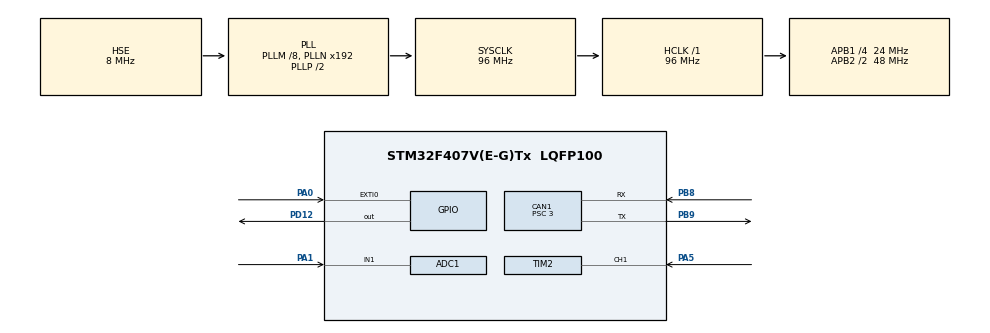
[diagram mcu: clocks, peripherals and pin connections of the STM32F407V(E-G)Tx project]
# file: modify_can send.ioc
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ADC1.Channel-7\#ChannelRegularConversion=ADC_CHANNEL_1
ADC1.NbrOfConversionFlag=1
ADC1.Rank-7\#ChannelRegularConversion=1
ADC1.SamplingTime-7\#ChannelRegularConversion=ADC_SAMPLETIME_3CYCLES
ADC1.master=1
CAN1.BS1=CAN_BS1_13TQ
CAN1.BS2=CAN_BS2_2TQ
CAN1.CalculateBaudRate=500000
CAN1.CalculateTimeBit=2000
CAN1.CalculateTimeQuantum=125.0
CAN1.Prescaler=3
FREERTOS.Mutexes01=rpmMutex,Dynamic,NULL,Available
FREERTOS.Tasks01=DefaultTask,-3,128,StartTask,Default,NULL,Dynamic,NULL,NULL;adcTask,1,256,StartADCTask,Default,NULL,Dynamic,NULL,NULL;canTask,0,256,StartCANTask,Default,NULL,Dynamic,NULL,NULL;Engine_RPM_S,2,256,StartEngineTask,Default,NULL,Dynamic,NULL,NULL
FREERTOS.configTOTAL_HEAP_SIZE=32768
FREERTOS.configUSE_COUNTING_SEMAPHORES=1
FREERTOS.configUSE_RECURSIVE_MUTEXES=1
FREERTOS.configUSE_TIMERS=1
Mcu.Family=STM32F4
Mcu.Name=STM32F407V(E-G)Tx
Mcu.Package=LQFP100
NVIC.CAN1_RX0_IRQn=true\:5\:0\:true\:false\:true\:true\:true\:true\:true
NVIC.CAN1_TX_IRQn=true\:5\:0\:true\:false\:true\:true\:true\:true\:true
NVIC.EXTI0_IRQn=true\:5\:0\:false\:false\:true\:true\:true\:true\:true
NVIC.PriorityGroup=NVIC_PRIORITYGROUP_4
NVIC.TIM2_IRQn=true\:5\:0\:false\:false\:true\:true\:true\:true\:true
PA0-WKUP.Signal=GPXTI0
PA1.Signal=ADCx_IN1
PA5.GPIO_Speed=GPIO_SPEED_FREQ_VERY_HIGH
PA5.Signal=S_TIM2_CH1_ETR
PB8.Mode=CAN_Activate
PB8.Signal=CAN1_RX
PB9.Mode=CAN_Activate
PB9.Signal=CAN1_TX
PD12.Signal=GPIO_Output
PH0-OSC_IN.Mode=HSE-External-Oscillator
PH0-OSC_IN.Signal=RCC_OSC_IN
PH1-OSC_OUT.Mode=HSE-External-Oscillator
PH1-OSC_OUT.Signal=RCC_OSC_OUT
ProjectManager.HeapSize=0x200
ProjectManager.StackSize=0x400
ProjectManager.TargetToolchain=STM32CubeIDE
RCC.48MHZClocksFreq_Value=48000000
RCC.AHBFreq_Value=96000000
RCC.APB1CLKDivider=RCC_HCLK_DIV4
RCC.APB1Freq_Value=24000000
RCC.APB1TimFreq_Value=48000000
RCC.APB2CLKDivider=RCC_HCLK_DIV2
RCC.APB2Freq_Value=48000000
RCC.APB2TimFreq_Value=96000000
RCC.CortexFreq_Value=96000000
RCC.HCLKFreq_Value=96000000
RCC.HSE_VALUE=8000000
RCC.HSI_VALUE=16000000
RCC.LSE_VALUE=32768
RCC.PLLM=8
RCC.PLLSourceVirtual=RCC_PLLSOURCE_HSE
RCC.SYSCLKFreq_VALUE=96000000
RCC.SYSCLKSource=RCC_SYSCLKSOURCE_PLLCLK
RCC.VCOOutputFreq_Value=192000000
SH.ADCx_IN1.0=ADC1_IN1,IN1
SH.S_TIM2_CH1_ETR.0=TIM2_CH1,Input_Capture1_from_TI1
TIM2.Channel-Input_Capture1_from_TI1=TIM_CHANNEL_1
TIM2.Period=999
TIM2.Prescaler=47
TIM2.TIM_MasterOutputTrigger=TIM_TRGO_ENABLE
VP_FREERTOS_VS_CMSIS_V1.Mode=CMSIS_V1
board=custom

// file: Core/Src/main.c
/* USER CODE BEGIN Header */
/**
  ******************************************************************************
  * @file           : main.c
  * @brief          : Main program body
  ******************************************************************************
  * @attention
  *
  * Copyright (c) 2025 STMicroelectronics.
  * All rights reserved.
  *
  * This software is licensed under terms that can be found in the LICENSE file
  * in the root directory of this software component.
  * If no LICENSE file comes with this software, it is provided AS-IS.
  *
  ******************************************************************************
  */
/* USER CODE END Header */
#include "main.h"
#include "cmsis_os.h"

/* USER CODE BEGIN Includes */
#include <string.h>
#include <stdio.h>
//#include "stm32f4xx_hal_adc_ex.h"
/* USER CODE END Includes */

/* USER CODE BEGIN PTD */
typedef struct {
    float temperature;
    uint32_t timestamp;
} TempData_t;
/* USER CODE END PTD */

/* USER CODE BEGIN PD */
#define WHEEL_CIRCUMFERENCE 0.314f   // Wheel circumference in meters
#define PULSES_PER_REVOLUTION 1      // Number of pulses per wheel revolution

#define CAN_TX_ID 0x123       // CAN message ID
#define TEMP_QUEUE_SIZE 5     // Size of temperature data queue
#define ADC_SAMPLE_RATE_MS 1000 // Sampling rate in milliseconds
/* USER CODE END PD */

ADC_HandleTypeDef hadc1;

CAN_HandleTypeDef hcan1;

TIM_HandleTypeDef htim2;

osThreadId DefaultTaskHandle;
osThreadId adcTaskHandle;
osThreadId canTaskHandle;
osThreadId Engine_RPM_SHandle;
osMutexId rpmMutexHandle;
/* USER CODE BEGIN PV */
osMessageQId tempQueueHandle; // Queue handle for temperature data
uint32_t temp;
uint32_t temptime;

volatile uint32_t pulseCount = 0;
volatile uint32_t lastTime = 0;
volatile uint16_t rpm = 0;
volatile uint16_t speed = 0;       // Speed in m/s
volatile uint16_t newSpeed = 0;    // Speed in Km/h
/* USER CODE END PV */

void SystemClock_Config(void);
static void MX_GPIO_Init(void);
static void MX_CAN1_Init(void);
static void MX_ADC1_Init(void);
static void MX_TIM2_Init(void);
void StartTask(void const * argument);
void StartADCTask(void const * argument);
void StartCANTask(void const * argument);
void StartEngineTask(void const * argument);

/* USER CODE BEGIN PFP */
void HAL_GPIO_EXTI_Callback(uint16_t GPIO_Pin);
void calculateRPM(void);
void sendCANData(void);
/* USER CODE END PFP */

/* USER CODE BEGIN 0 */
void HAL_GPIO_EXTI_Callback(uint16_t GPIO_Pin) {
    if (GPIO_Pin == GPIO_PIN_0) { // Hall sensor connected to PA0
        pulseCount++;
    }
}

void calculateRPM() {
    uint32_t currentTime = HAL_GetTick();
    uint32_t elapsedTime = currentTime - lastTime;

    if (elapsedTime >= 1000) { // Calculate RPM every second
        rpm = (pulseCount * 60) / PULSES_PER_REVOLUTION;
        speed = ((float)rpm / 60.0f) * WHEEL_CIRCUMFERENCE;
        newSpeed = speed * 3.6f; // Convert m/s to km/h
        pulseCount = 0;
        lastTime = currentTime;

        // Send data via CAN
        //sendCANData();
    }
}
/* USER CODE END 0 */

int main(void)
{

  /* MCU Configuration--------------------------------------------------------*/

  /* Reset of all peripherals, Initializes the Flash interface and the Systick. */
  HAL_Init();

  /* Configure the system clock */
  SystemClock_Config();

  /* Initialize all configured peripherals */
  MX_GPIO_Init();
  MX_CAN1_Init();
  MX_ADC1_Init();
  MX_TIM2_Init();
  /* USER CODE BEGIN 2 */
  // Initialize CAN filter (accept all messages)
  CAN_FilterTypeDef can_filter = {
      .FilterBank = 0,
      .FilterMode = CAN_FILTERMODE_IDMASK,
      .FilterScale = CAN_FILTERSCALE_32BIT,
      .FilterIdHigh = 0x0000,
      .FilterIdLow = 0x0000,
      .FilterMaskIdHigh = 0x0000,
      .FilterMaskIdLow = 0x0000,
      .FilterFIFOAssignment = CAN_RX_FIFO0,
      .FilterActivation = ENABLE,
      .SlaveStartFilterBank = 14
  };
  HAL_CAN_ConfigFilter(&hcan1, &can_filter);

  // Start CAN
  HAL_CAN_Start(&hcan1);
  /* USER CODE END 2 */

  /* USER CODE BEGIN RTOS_MUTEX */
  osMutexDef(rpmMutex);
  rpmMutexHandle = osMutexCreate(osMutex(rpmMutex));
  /* USER CODE END RTOS_MUTEX */

  /* USER CODE BEGIN RTOS_QUEUES */
  osMessageQDef(tempQueue, TEMP_QUEUE_SIZE, TempData_t);
  tempQueueHandle = osMessageCreate(osMessageQ(tempQueue), NULL);
  /* USER CODE END RTOS_QUEUES */

  /* Create the thread(s) */
  /* definition and creation of DefaultTask */
  osThreadDef(DefaultTask, StartTask, osPriorityIdle, 0, 128);
  DefaultTaskHandle = osThreadCreate(osThread(DefaultTask), NULL);

  /* definition and creation of adcTask */
  osThreadDef(adcTask, StartADCTask, osPriorityAboveNormal, 0, 256);
  adcTaskHandle = osThreadCreate(osThread(adcTask), NULL);

  /* definition and creation of canTask */
  osThreadDef(canTask, StartCANTask, osPriorityNormal, 0, 256);
  canTaskHandle = osThreadCreate(osThread(canTask), NULL);

  /* definition and creation of Engine_RPM_S */
  osThreadDef(Engine_RPM_S, StartEngineTask, osPriorityHigh, 0, 256);
  Engine_RPM_SHandle = osThreadCreate(osThread(Engine_RPM_S), NULL);

  /* Start scheduler */
  osKernelStart();

  /* We should never get here as control is now taken by the scheduler */

  /* Infinite loop */
  /* USER CODE BEGIN WHILE */
  while(1){
	 // temp=StartADCTask();
  }
    /* USER CODE END WHILE */

}

void SystemClock_Config(void)
{
  RCC_OscInitTypeDef RCC_OscInitStruct = {0};
  RCC_ClkInitTypeDef RCC_ClkInitStruct = {0};

  /** Configure the main internal regulator output voltage
  */
  __HAL_RCC_PWR_CLK_ENABLE();
  __HAL_PWR_VOLTAGESCALING_CONFIG(PWR_REGULATOR_VOLTAGE_SCALE1);

  /** Initializes the RCC Oscillators according to the specified parameters
  * in the RCC_OscInitTypeDef structure.
  */
  RCC_OscInitStruct.OscillatorType = RCC_OSCILLATORTYPE_HSE;
  RCC_OscInitStruct.HSEState = RCC_HSE_ON;
  RCC_OscInitStruct.PLL.PLLState = RCC_PLL_ON;
  RCC_OscInitStruct.PLL.PLLSource = RCC_PLLSOURCE_HSE;
  RCC_OscInitStruct.PLL.PLLM = 8;
  RCC_OscInitStruct.PLL.PLLN = 192;
  RCC_OscInitStruct.PLL.PLLP = RCC_PLLP_DIV2;
  RCC_OscInitStruct.PLL.PLLQ = 4;
  if (HAL_RCC_OscConfig(&RCC_OscInitStruct) != HAL_OK)
  {
    Error_Handler();
  }

  /** Initializes the CPU, AHB and APB buses clocks
  */
  RCC_ClkInitStruct.ClockType = RCC_CLOCKTYPE_HCLK|RCC_CLOCKTYPE_SYSCLK
                              |RCC_CLOCKTYPE_PCLK1|RCC_CLOCKTYPE_PCLK2;
  RCC_ClkInitStruct.SYSCLKSource = RCC_SYSCLKSOURCE_PLLCLK;
  RCC_ClkInitStruct.AHBCLKDivider = RCC_SYSCLK_DIV1;
  RCC_ClkInitStruct.APB1CLKDivider = RCC_HCLK_DIV4;
  RCC_ClkInitStruct.APB2CLKDivider = RCC_HCLK_DIV2;

  if (HAL_RCC_ClockConfig(&RCC_ClkInitStruct, FLASH_LATENCY_3) != HAL_OK)
  {
    Error_Handler();
  }
}

static void MX_ADC1_Init(void)
{

  ADC_ChannelConfTypeDef sConfig = {0};

  /** Configure the global features of the ADC (Clock, Resolution, Data Alignment and number of conversion)
  */
  hadc1.Instance = ADC1;
  hadc1.Init.ClockPrescaler = ADC_CLOCK_SYNC_PCLK_DIV2;
  hadc1.Init.Resolution = ADC_RESOLUTION_12B;
  hadc1.Init.ScanConvMode = DISABLE;
  hadc1.Init.ContinuousConvMode = DISABLE;
  hadc1.Init.DiscontinuousConvMode = DISABLE;
  hadc1.Init.ExternalTrigConvEdge = ADC_EXTERNALTRIGCONVEDGE_NONE;
  hadc1.Init.ExternalTrigConv = ADC_SOFTWARE_START;
  hadc1.Init.DataAlign = ADC_DATAALIGN_RIGHT;
  hadc1.Init.NbrOfConversion = 1;
  hadc1.Init.DMAContinuousRequests = DISABLE;
  hadc1.Init.EOCSelection = ADC_EOC_SINGLE_CONV;
  if (HAL_ADC_Init(&hadc1) != HAL_OK)
  {
    Error_Handler();
  }

  /** Configure for the selected ADC regular channel its corresponding rank in the sequencer and its sample time.
  */
  sConfig.Channel = ADC_CHANNEL_1;
  sConfig.Rank = 1;
  sConfig.SamplingTime = ADC_SAMPLETIME_3CYCLES;
  if (HAL_ADC_ConfigChannel(&hadc1, &sConfig) != HAL_OK)
  {
    Error_Handler();
  }

}

static void MX_CAN1_Init(void)
{

  hcan1.Instance = CAN1;
  hcan1.Init.Prescaler = 3;
  hcan1.Init.Mode = CAN_MODE_NORMAL;
  hcan1.Init.SyncJumpWidth = CAN_SJW_1TQ;
  hcan1.Init.TimeSeg1 = CAN_BS1_13TQ;
  hcan1.Init.TimeSeg2 = CAN_BS2_2TQ;
  hcan1.Init.TimeTriggeredMode = DISABLE;
  hcan1.Init.AutoBusOff = DISABLE;
  hcan1.Init.AutoWakeUp = DISABLE;
  hcan1.Init.AutoRetransmission = DISABLE;
  hcan1.Init.ReceiveFifoLocked = DISABLE;
  hcan1.Init.TransmitFifoPriority = DISABLE;
  if (HAL_CAN_Init(&hcan1) != HAL_OK)
  {
    Error_Handler();
  }

}

static void MX_TIM2_Init(void)
{

  TIM_MasterConfigTypeDef sMasterConfig = {0};
  TIM_IC_InitTypeDef sConfigIC = {0};

  htim2.Instance = TIM2;
  htim2.Init.Prescaler = 47;
  htim2.Init.CounterMode = TIM_COUNTERMODE_UP;
  htim2.Init.Period = 999;
  htim2.Init.ClockDivision = TIM_CLOCKDIVISION_DIV1;
  htim2.Init.AutoReloadPreload = TIM_AUTORELOAD_PRELOAD_DISABLE;
  if (HAL_TIM_IC_Init(&htim2) != HAL_OK)
  {
    Error_Handler();
  }
  sMasterConfig.MasterOutputTrigger = TIM_TRGO_ENABLE;
  sMasterConfig.MasterSlaveMode = TIM_MASTERSLAVEMODE_DISABLE;
  if (HAL_TIMEx_MasterConfigSynchronization(&htim2, &sMasterConfig) != HAL_OK)
  {
    Error_Handler();
  }
  sConfigIC.ICPolarity = TIM_INPUTCHANNELPOLARITY_RISING;
  sConfigIC.ICSelection = TIM_ICSELECTION_DIRECTTI;
  sConfigIC.ICPrescaler = TIM_ICPSC_DIV1;
  sConfigIC.ICFilter = 0;
  if (HAL_TIM_IC_ConfigChannel(&htim2, &sConfigIC, TIM_CHANNEL_1) != HAL_OK)
  {
    Error_Handler();
  }

}

static void MX_GPIO_Init(void)
{
  //GPIO_InitTypeDef GPIO_InitStruct = {0};
  /* USER CODE BEGIN MX_GPIO_Init_1 */
	// Add in MX_GPIO_Init():
	__HAL_RCC_GPIOA_CLK_ENABLE();
	GPIO_InitTypeDef GPIO_InitStruct = {1};
	GPIO_InitStruct.Pin = GPIO_PIN_1;
	GPIO_InitStruct.Mode = GPIO_MODE_ANALOG;
	GPIO_InitStruct.Pull = GPIO_NOPULL;
	HAL_GPIO_Init(GPIOA, &GPIO_InitStruct);
  /* USER CODE END MX_GPIO_Init_1 */

  /* GPIO Ports Clock Enable */
  __HAL_RCC_GPIOH_CLK_ENABLE();
  __HAL_RCC_GPIOA_CLK_ENABLE();
  __HAL_RCC_GPIOB_CLK_ENABLE();

  /*Configure GPIO pin : PA0 */
  GPIO_InitStruct.Pin = GPIO_PIN_0;
  GPIO_InitStruct.Mode = GPIO_MODE_IT_RISING;
  GPIO_InitStruct.Pull = GPIO_NOPULL;
  HAL_GPIO_Init(GPIOA, &GPIO_InitStruct);

  /* EXTI interrupt init*/
  HAL_NVIC_SetPriority(EXTI0_IRQn, 5, 0);
  HAL_NVIC_EnableIRQ(EXTI0_IRQn);

}

void StartTask(void const * argument)
{
  /* USER CODE BEGIN 5 */
	  /* Initialize lastTime */
		    lastTime = HAL_GetTick();

		    /* Start timer interrupt */
		    HAL_TIM_IC_Start_IT(&htim2, TIM_CHANNEL_1);

		    /* Start CAN */
		    HAL_CAN_Start(&hcan1);

		    /* Infinite loop */
		    for(;;) {
		        osDelay(1000);
		    }
  /* USER CODE END 5 */
}

void StartADCTask(void const * argument)
{
  /* USER CODE BEGIN StartADCTask */
	// Constants (compile-time optimized)
	    const float vRef = 3.3f;               // Must match your actual VREF
	    const float scaleFactor = vRef * 100.0f / 4095.0f;

	    // Static variables
	    static TempData_t tempData;
	    static uint32_t adcValue;
	    static uint32_t validReadings = 0;

	    // Initialize with dummy reads
	    for(uint8_t i=0; i<5; i++) {
	        HAL_ADC_Start(&hadc1);
	        HAL_ADC_PollForConversion(&hadc1, 1);
	        HAL_ADC_GetValue(&hadc1);
	        osDelay(10);
	    }

	    for(;;)
	    {
	        HAL_ADC_Start(&hadc1);

	        if(HAL_ADC_PollForConversion(&hadc1, 10) == HAL_OK)
	        {
	            adcValue = HAL_ADC_GetValue(&hadc1);

	            /* Robust validation checks */
	            if(adcValue < 10) {  // Minimum expected raw value (~0.08V = 8Â°C)
	                tempData.temperature = 0.0f;  // Treat as disconnected
	            }
	            else {
	                // Only consider stable readings
	                float newTemp = adcValue * scaleFactor;

	                // Validate plausible temperature range
	                if(newTemp >= 0.0f && newTemp <= 150.0f) {
	                    tempData.temperature = newTemp;
	                    validReadings++;
	                }
	            }
	            temp=tempData.temperature;

	            // Only send data after 5 valid readings
	            if(validReadings > 5) {
	                tempData.timestamp = osKernelSysTick();
	                osMessagePut(tempQueueHandle, (uint32_t)&tempData, 0);
	            }

	            HAL_ADC_Start(&hadc1);  // Restart immediately
	        }
	        osDelay(200);  // 5Hz update rate
	    }
  /* USER CODE END StartADCTask */
}

void StartCANTask(void const * argument)
{
  /* USER CODE BEGIN StartCANTask */
	osEvent event;
		    TempData_t *tempData;
		    CAN_TxHeaderTypeDef txHeader = {
		        .StdId = CAN_TX_ID,
		        .ExtId = 0,
		        .RTR = CAN_RTR_DATA,
		        .IDE = CAN_ID_STD,
		        .DLC = 8,        // 8 bytes total
		        .TransmitGlobalTime = DISABLE
		    };
		    uint8_t canData[8];
		    uint32_t txMailbox;

		    for(;;) {
		        // Wait for temperature data
		        event = osMessageGet(tempQueueHandle, osWaitForever);

		        if (event.status == osEventMessage) {
		            tempData = (TempData_t *)event.value.p;

		            // Prepare all data in the CAN message
		            // Bytes 0-1: RPM (uint16_t)
		            canData[0] = (rpm >> 8) & 0xFF;
		            canData[1] = rpm & 0xFF;

		            // Bytes 2-3: Speed (uint16_t km/h)
		            canData[2] = (newSpeed >> 8) & 0xFF;
		            canData[3] = newSpeed & 0xFF;

		            // Bytes 4-5: Temperature (uint16_t °C)
		            uint16_t temp_int = (uint16_t)(tempData->temperature);
		            canData[4] = (temp_int >> 8) & 0xFF;
		            canData[5] = temp_int & 0xFF;

		            // Bytes 6-7: Timestamp (uint16_t - truncated from uint32_t)
		            canData[6] = (tempData->timestamp >> 8) & 0xFF;
		            canData[7] = tempData->timestamp & 0xFF;

		            // Send CAN message
		            if (HAL_CAN_AddTxMessage(&hcan1, &txHeader, canData, &txMailbox) != HAL_OK) {
		                // Error handling could be added here
		            }

		            // Optional debug output
		            // printf("Sent - RPM: %d, Speed: %d km/h, Temp: %d°C\n", rpm, newSpeed, temp_int);
		        }
		    }
  /* USER CODE END StartCANTask */
}

void StartEngineTask(void const * argument)
{
  /* USER CODE BEGIN StartEngineTask */
	/* Infinite loop */
		    for(;;) {
		        osMutexWait(rpmMutexHandle, osWaitForever);
		        calculateRPM();
		        osMutexRelease(rpmMutexHandle);

		        osDelay(100); // 100ms delay for RPM calculation
		    }
  /* USER CODE END StartEngineTask */
}

void Error_Handler(void)
{
}
